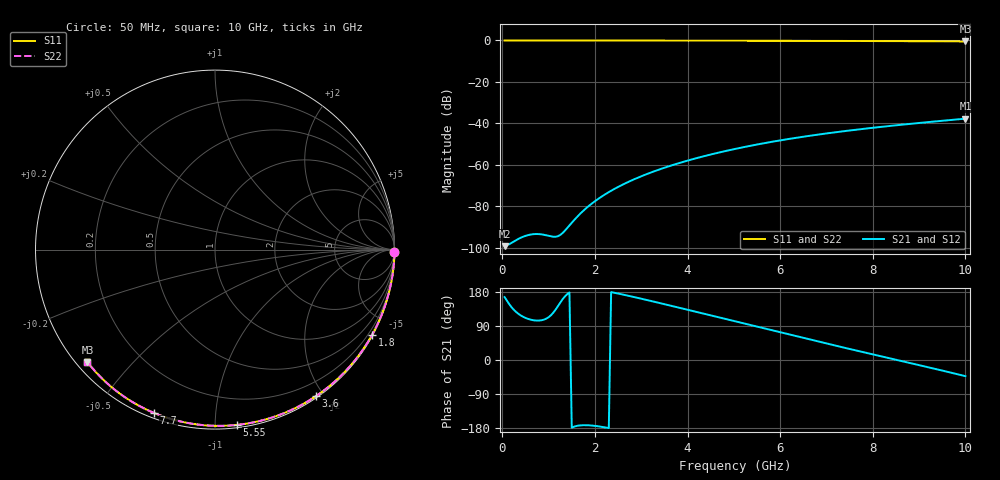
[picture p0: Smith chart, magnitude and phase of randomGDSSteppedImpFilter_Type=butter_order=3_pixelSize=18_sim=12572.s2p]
! freq	dB(S11)	phase(S11)	dB(S12)	phase(S12)
!  dB(S21)	phase(S21)	dB(S22)	phase(S22)
!S-par simulation data
#  GHz  S  DB  R 50
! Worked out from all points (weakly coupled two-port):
!   200 points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, 50 MHz to 10 GHz, reference 50 ohm
!   highest |S21| = -37.73 dB at 10 GHz (marker M1); lowest = -99.2 dB at 50 MHz (marker M2)
!   lowest |S11| = -0.5 dB at 10 GHz (marker M3), VSWR 37.07, Z = 1.54 - j18.9 ohm
!   |S11| at or under -10 dB: nowhere
!   |S22| runs from -0.5 to 0.0 dB; largest |S21 - S12| = 0
!   S11 on the Smith chart (normalised r, x): 50 MHz: open; 1.8 GHz: 0.03, -3.95; 3.6 GHz: 0.02, -1.90; 5.55 GHz: 0.02, -1.13; 7.7 GHz: 0.02, -0.69; 10 GHz: 0.03, -0.38
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0.05  -0.00 -0.8  -99.20 165.9  -99.20 165.9  -0.00 -0.8
0.45  -0.01 -7.2  -94.64 114.0  -94.64 114.0  -0.00 -7.2
0.85  -0.02 -13.6  -93.52 104.9  -93.52 104.9  -0.01 -13.6
1.3  -0.03 -20.6  -92.90 160.1  -92.90 160.1  -0.03 -20.6
1.75  -0.04 -27.7  -82.11 -172.0  -82.11 -172.0  -0.04 -27.7
1.8  -0.04 -28.4  -81.10 -172.0  -81.10 -172.0  -0.04 -28.4
1.85  -0.04 -29.2  -80.15 -172.2  -80.15 -172.2  -0.04 -29.2
2.15  -0.04 -33.8  -75.20 -176.4  -75.20 -176.4  -0.04 -33.8
2.35  -0.05 -36.9  -72.47 179.1  -72.47 179.1  -0.05 -36.9
2.55  -0.05 -39.9  -70.06 174.1  -70.06 174.1  -0.05 -39.9
2.95  -0.06 -45.9  -65.96 163.2  -65.96 163.2  -0.06 -45.9
3.4  -0.07 -52.6  -62.14 150.3  -62.14 150.3  -0.07 -52.6
3.6  -0.07 -55.5  -60.65 144.4  -60.65 144.4  -0.07 -55.5
4.3  -0.09 -65.6  -56.12 123.7  -56.12 123.7  -0.09 -65.6
5.05  -0.12 -76.0  -52.19 101.3  -52.19 101.3  -0.12 -76.0
5.55  -0.14 -82.8  -49.97 86.4  -49.97 86.4  -0.14 -82.8
6.1  -0.16 -90.1  -47.82 70.0  -47.82 70.0  -0.16 -90.1
6.7  -0.19 -97.9  -45.77 52.3  -45.77 52.3  -0.19 -97.9
7.7  -0.25 -110.5  -42.88 23.4  -42.88 23.4  -0.25 -110.5
8.35  -0.30 -118.6  -41.26 4.9  -41.26 4.9  -0.30 -118.6
9.2  -0.38 -128.9  -39.35 -19.2  -39.35 -19.2  -0.38 -128.9
10  -0.47 -138.6  -37.73 -42.6  -37.73 -42.6  -0.47 -138.6
